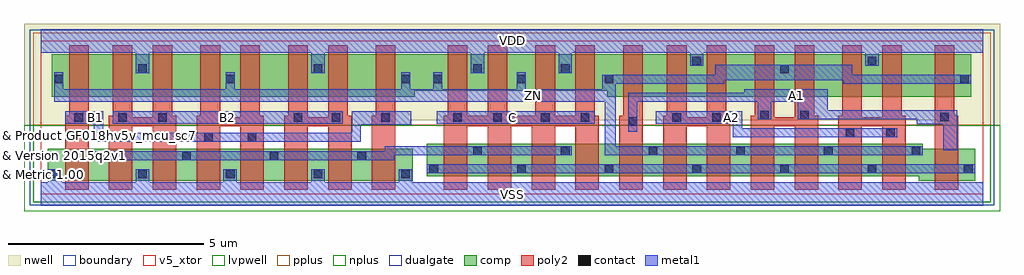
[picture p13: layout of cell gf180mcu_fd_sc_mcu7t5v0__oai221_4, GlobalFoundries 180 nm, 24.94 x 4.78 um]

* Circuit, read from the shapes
.subckt gf180mcu_fd_sc_mcu7t5v0__oai221_4 A1 A2 B1 B2 C VDD VSS ZN
XM1 n1 B1 VSS VSUBS nfet_05v0 w=0.82u l=0.6u m=4
XM2 VSS B2 n1 VSUBS nfet_05v0 w=0.82u l=0.6u m=4
XM3 n1 C n2 VSUBS nfet_05v0 w=0.82u l=0.6u m=4
XM4 ZN A1 n2 VSUBS nfet_05v0 w=0.82u l=0.6u m=4
XM5 n2 A2 ZN VSUBS nfet_05v0 w=0.82u l=0.6u m=4
XM6 n3 B1 ZN n4 pfet_05v0 w=1.095u l=0.5u
XM7 VDD B2 n3 n4 pfet_05v0 w=1.095u l=0.5u
XM8 n5 B2 VDD n4 pfet_05v0 w=1.095u l=0.5u
XM9 ZN B1 n5 n4 pfet_05v0 w=1.095u l=0.5u
XM10 n6 B1 ZN n4 pfet_05v0 w=1.095u l=0.5u
XM11 VDD B2 n6 n4 pfet_05v0 w=1.095u l=0.5u
XM12 n7 B2 VDD n4 pfet_05v0 w=1.095u l=0.5u
XM13 ZN B1 n7 n4 pfet_05v0 w=1.095u l=0.5u
XM14 VDD C ZN n4 pfet_05v0 w=0.935u l=0.5u m=4
XM15 n8 A1 ZN n4 pfet_05v0 w=1.095u l=0.5u
XM16 VDD A2 n8 n4 pfet_05v0 w=1.095u l=0.5u
XM17 n9 A2 VDD n4 pfet_05v0 w=1.095u l=0.5u
XM18 ZN A1 n9 n4 pfet_05v0 w=1.095u l=0.5u
XM19 n10 A1 ZN n4 pfet_05v0 w=1.095u l=0.5u
XM20 VDD A2 n10 n4 pfet_05v0 w=1.095u l=0.5u
XM21 n11 A2 VDD n4 pfet_05v0 w=1.095u l=0.5u
XM22 ZN A1 n11 n4 pfet_05v0 w=1.095u l=0.5u
.ends

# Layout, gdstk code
import gdstk
lib = gdstk.Library(unit=1e-6, precision=1e-09)
def R(c, l, rs):  # rectangles x0, y0, x1, y1
    for r in rs: c.add(gdstk.rectangle(r[:2], r[2:], *l))
def A(c, l, x, y, w, h, nx, ny, dx, dy):  # array of equal rectangles
    R(c, l, [(x+i*dx, y+j*dy, x+i*dx+w, y+j*dy+h) for i in range(nx) for j in range(ny)])
def P(c, l, *ps):  # polygons
    for p in ps: c.add(gdstk.Polygon(p, *l))
boundary = (0, 0)
nwell = (21, 0)
comp = (22, 0)
poly2 = (30, 0)
pplus = (31, 0)
nplus = (32, 0)
contact = (33, 0)
metal1 = (34, 0)
dualgate = (55, 0)
v5_xtor = (112, 1)
lvpwell = (204, 0)

gf180mcu_fd_sc_mcu7t5v0_ = lib.new_cell('gf180mcu_fd_sc_mcu7t5v0__oai221_4')
R(gf180mcu_fd_sc_mcu7t5v0_, boundary, [(0,0,24.08,3.92)])
P(gf180mcu_fd_sc_mcu7t5v0_, nwell, [(-0.43,1.76),(-0.43,4.35),(24.51,4.35),(24.51,1.76),(22.94,1.76),(22.94,1.885),(9.445,1.885),(9.445,1.76)])
R(gf180mcu_fd_sc_mcu7t5v0_, comp, [(0.18,0.34,9.5,1.16)])
P(gf180mcu_fd_sc_mcu7t5v0_, comp, [(0.28,2.485),(0.28,3.58),(23.78,3.58),(23.78,2.485),(14.48,2.485),(14.48,2.645),(9.56,2.645),(9.56,2.485)],
  [(22.44,0.34),(22.44,0.465),(9.86,0.465),(9.86,1.285),(22.54,1.285),(22.54,1.16),(23.88,1.16),(23.88,0.34)])
P(gf180mcu_fd_sc_mcu7t5v0_, poly2, [(0.62,0.12),(0.62,2.01),(0.72,2.01),(0.72,3.8),(1.22,3.8),(1.22,0.12)],
  [(1.74,0.12),(1.74,2.01),(1.84,2.01),(1.84,3.8),(2.34,3.8),(2.34,1.97),(2.86,1.97),(2.86,3.8),(3.36,3.8),(3.36,2.01),(3.46,2.01),(3.46,0.12),(2.86,0.12),(2.86,1.74),(2.34,1.74),(2.34,0.12)],
  [(3.98,0.12),(3.98,2.01),(4.08,2.01),(4.08,3.8),(4.58,3.8),(4.58,1.97),(5.1,1.97),(5.1,3.8),(5.6,3.8),(5.6,2.01),(5.7,2.01),(5.7,0.12),(5.1,0.12),(5.1,1.74),(4.58,1.74),(4.58,0.12)],
  [(6.22,0.12),(6.22,2.01),(6.32,2.01),(6.32,3.8),(6.82,3.8),(6.82,1.97),(7.34,1.97),(7.34,3.8),(7.84,3.8),(7.84,2.01),(7.94,2.01),(7.94,0.12),(7.34,0.12),(7.34,1.74),(6.82,1.74),(6.82,0.12)],
  [(8.46,0.12),(8.46,2.01),(8.56,2.01),(8.56,3.8),(9.06,3.8),(9.06,0.12)],
  [(10.3,0.12),(10.3,2.01),(10.4,2.01),(10.4,3.8),(10.9,3.8),(10.9,2.01),(11.42,2.01),(11.42,3.8),(11.92,3.8),(11.92,2.01),(12.64,2.01),(12.64,3.8),(13.14,3.8),(13.14,2.01),(13.66,2.01),(13.66,3.8),(14.16,3.8),(14.16,2.01),(14.26,2.01),(14.26,0.12),(13.66,0.12),(13.66,1.74),(13.14,1.74),(13.14,0.12),(12.54,0.12),(12.54,1.74),(12.02,1.74),(12.02,0.12),(11.42,0.12),(11.42,1.74),(10.9,1.74),(10.9,0.12)],
  [(14.78,0.12),(14.78,2.01),(14.88,2.01),(14.88,3.8),(15.38,3.8),(15.38,0.12)],
  [(15.9,0.12),(15.9,2.01),(16,2.01),(16,3.8),(16.5,3.8),(16.5,1.97),(17.02,1.97),(17.02,3.8),(17.52,3.8),(17.52,2.01),(17.62,2.01),(17.62,0.12),(17.02,0.12),(17.02,1.74),(16.5,1.74),(16.5,0.12)],
  [(18.14,0.12),(18.14,2.01),(18.24,2.01),(18.24,3.8),(18.74,3.8),(18.74,1.97),(19.26,1.97),(19.26,3.8),(19.76,3.8),(19.76,2.01),(19.86,2.01),(19.86,0.12),(19.26,0.12),(19.26,1.74),(18.74,1.74),(18.74,0.12)],
  [(20.38,0.12),(20.38,2.01),(20.48,2.01),(20.48,3.8),(20.98,3.8),(20.98,1.97),(21.5,1.97),(21.5,3.8),(22,3.8),(22,2.01),(22.1,2.01),(22.1,0.12),(21.5,0.12),(21.5,1.74),(20.98,1.74),(20.98,0.12)],
  [(22.84,0.12),(22.84,3.8),(23.34,3.8),(23.34,2.01),(23.44,2.01),(23.44,0.12)])
R(gf180mcu_fd_sc_mcu7t5v0_, pplus, [(-0.2,1.76,24.28,4.12)])
R(gf180mcu_fd_sc_mcu7t5v0_, nplus, [(-0.2,-0.2,24.28,1.76)])
A(gf180mcu_fd_sc_mcu7t5v0_, contact, 0.25, 0.41, 0.22, 0.22, 5, 1, 2.24, 0)
A(gf180mcu_fd_sc_mcu7t5v0_, contact, 9.93, 0.535, 0.22, 0.22, 6, 1, 2.24, 0)
A(gf180mcu_fd_sc_mcu7t5v0_, contact, 1.37, 0.87, 0.22, 0.22, 4, 1, 2.24, 0)
A(gf180mcu_fd_sc_mcu7t5v0_, contact, 11.05, 0.995, 0.22, 0.22, 6, 1, 2.24, 0)
R(gf180mcu_fd_sc_mcu7t5v0_, contact, [(23.59,0.535,23.81,0.755), (4.17,1.345,4.39,1.565), (5.29,1.345,5.51,1.565), (20.57,1.455,20.79,1.675), (21.6,1.455,21.82,1.675), (15.02,1.745,15.24,1.965), (0.86,1.85,1.08,2.07), (1.98,1.85,2.2,2.07), (3,1.85,3.22,2.07), (6.46,1.85,6.68,2.07), (7.43,1.85,7.65,2.07), (8.7,1.85,8.92,2.07), (10.54,1.85,10.76,2.07), (11.56,1.85,11.78,2.07), (12.78,1.85,13,2.07), (13.8,1.85,14.02,2.07), (16.14,1.85,16.36,2.07), (17.16,1.85,17.38,2.07), (22.98,1.865,23.2,2.085), (18.38,1.915,18.6,2.135), (19.4,1.915,19.62,2.135), (0.35,2.83,0.57,3.05), (4.73,2.83,4.95,3.05), (9.21,2.83,9.43,3.05), (10.03,2.83,10.25,3.05), (12.17,2.83,12.39,3.05), (14.41,2.83,14.63,3.05), (23.49,2.83,23.71,3.05), (18.89,3.085,19.11,3.305), (2.49,3.095,2.71,3.315), (6.97,3.095,7.19,3.315), (11.05,3.095,11.27,3.315), (13.29,3.095,13.51,3.315), (16.65,3.29,16.87,3.51), (21.13,3.29,21.35,3.51)])
R(gf180mcu_fd_sc_mcu7t5v0_, metal1, [(9.86,0.53,23.88,0.76), (1.84,1.8,7.71,2.12), (10.115,1.8,14.16,2.12)])
P(gf180mcu_fd_sc_mcu7t5v0_, metal1, [(1.35,1.34),(1.35,1.8),(0.62,1.8),(0.62,2.12),(1.59,2.12),(1.59,1.57),(7.94,1.57),(7.94,2.12),(9.47,2.12),(9.47,1.77),(8.17,1.77),(8.17,1.34)],
  [(1.22,0.865),(1.22,1.095),(8.785,1.095),(8.785,1.22),(13.57,1.22),(13.57,0.99),(9.035,0.99),(9.035,0.865)],
  [(17.675,1.45),(17.675,1.8),(15.715,1.8),(15.715,2.12),(17.925,2.12),(17.925,1.68),(21.88,1.68),(21.88,1.45)],
  [(23.06,1.12),(23.06,1.79),(22.385,1.79),(22.385,1.91),(19.34,1.91),(19.34,2.365),(18.66,2.365),(18.66,1.91),(18.32,1.91),(18.32,2.365),(15.245,2.365),(15.245,1.6),(15.015,1.6),(15.015,2.595),(17.97,2.595),(17.97,2.68),(20.11,2.68),(20.11,2.14),(23.42,2.14),(23.42,1.12)],
  [(14.405,0.99),(14.405,2.36),(0.345,2.36),(0.345,3.11),(0.575,3.11),(0.575,2.68),(4.725,2.68),(4.725,3.11),(4.955,3.11),(4.955,2.68),(9.205,2.68),(9.205,3.11),(9.435,3.11),(9.435,2.68),(10.025,2.68),(10.025,3.11),(10.255,3.11),(10.255,2.68),(12.165,2.68),(12.165,3.11),(12.395,3.11),(12.395,2.68),(14.35,2.68),(14.35,3.055),(17.235,3.055),(17.235,3.31),(20.735,3.31),(20.735,3.055),(23.78,3.055),(23.78,2.825),(20.505,2.825),(20.505,2.91),(17.465,2.91),(17.465,2.825),(14.69,2.825),(14.69,1.22),(22.53,1.22),(22.53,0.99)],
  [(0,-0.3),(0,0.3),(0.19,0.3),(0.19,0.635),(0.53,0.635),(0.53,0.3),(2.425,0.3),(2.425,0.635),(2.77,0.635),(2.77,0.3),(4.665,0.3),(4.665,0.635),(5.01,0.635),(5.01,0.3),(6.905,0.3),(6.905,0.635),(7.25,0.635),(7.25,0.3),(9.145,0.3),(9.145,0.635),(9.49,0.635),(9.49,0.3),(24.08,0.3),(24.08,-0.3)],
  [(2.43,3.09),(2.43,3.62),(0,3.62),(0,4.22),(24.08,4.22),(24.08,3.62),(21.41,3.62),(21.41,3.285),(21.07,3.285),(21.07,3.62),(16.93,3.62),(16.93,3.285),(16.59,3.285),(16.59,3.62),(13.57,3.62),(13.57,3.09),(13.23,3.09),(13.23,3.62),(11.33,3.62),(11.33,3.09),(10.99,3.09),(10.99,3.62),(7.25,3.62),(7.25,3.09),(6.91,3.09),(6.91,3.62),(2.77,3.62),(2.77,3.09)])
R(gf180mcu_fd_sc_mcu7t5v0_, dualgate, [(-0.28,-0.28,24.36,4.2)])
R(gf180mcu_fd_sc_mcu7t5v0_, v5_xtor, [(0,0,24.08,3.92)])
R(gf180mcu_fd_sc_mcu7t5v0_, lvpwell, [(-0.43,-0.43,24.51,1.76)])
gf180mcu_fd_sc_mcu7t5v0_.add(gdstk.Label('A1', (19.32,2.52), layer=34, texttype=10))
gf180mcu_fd_sc_mcu7t5v0_.add(gdstk.Label('B1', (1.4,1.96), layer=34, texttype=10))
gf180mcu_fd_sc_mcu7t5v0_.add(gdstk.Label('B2', (4.76,1.96), layer=34, texttype=10))
gf180mcu_fd_sc_mcu7t5v0_.add(gdstk.Label('C', (12.04,1.96), layer=34, texttype=10))
gf180mcu_fd_sc_mcu7t5v0_.add(gdstk.Label('VDD', (12.04,3.92), layer=34, texttype=10))
gf180mcu_fd_sc_mcu7t5v0_.add(gdstk.Label('VSS', (12.04,0), layer=34, texttype=10))
gf180mcu_fd_sc_mcu7t5v0_.add(gdstk.Label('ZN', (12.6,2.52), layer=34, texttype=10))
gf180mcu_fd_sc_mcu7t5v0_.add(gdstk.Label('A2', (17.64,1.96), layer=34, texttype=10))
gf180mcu_fd_sc_mcu7t5v0_.add(gdstk.Label('& Vendor GLOBALFOUNDRIES', (0,2), layer=63, texttype=63))
gf180mcu_fd_sc_mcu7t5v0_.add(gdstk.Label('& Product GF018hv5v_mcu_sc7', (0,1.5), layer=63, texttype=63))
gf180mcu_fd_sc_mcu7t5v0_.add(gdstk.Label('& Version 2015q2v1', (0,1), layer=63, texttype=63))
gf180mcu_fd_sc_mcu7t5v0_.add(gdstk.Label('& Metric 1.00', (0,0.5), layer=63, texttype=63))

lib.write_gds('gf180mcu_fd_sc_mcu7t5v0__oai221_4.gds')
